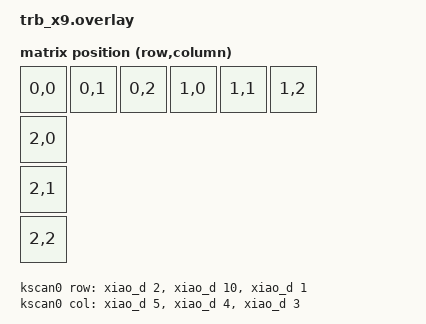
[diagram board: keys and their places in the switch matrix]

#include <dt-bindings/zmk/matrix_transform.h>
#include <input/processors.dtsi>
#include <dt-bindings/zmk/input_transform.h>
#include <zephyr/dt-bindings/pinctrl/nrf-pinctrl.h>
#include "trb_x9-layouts.dtsi"

/ {
    chosen {
        zmk,physical-layout = &physical_layout0;
        zmk,kscan = &kscan0;
    };

    // xiao_ble only exposes 11 GPIO pins (D0-D10), and D8-D10 are already
    // committed to the trackball's SPI bus below, leaving 8 pins (D0-D7).
    // A 3x3 matrix (6 pins) + CS/IRQ (2 pins) uses exactly those 8, so the
    // kscan matrix here is 3x3 (9 key positions total - see trb_x9-layouts.dtsi).
    default_transform: keymap_transform_0 {
        compatible = "zmk,matrix-transform";
        columns = <3>;
        rows = <3>;
        map = <
            RC(0,0) RC(0,1) RC(0,2) RC(1,0) RC(1,1) RC(1,2)
            RC(2,0)
            RC(2,1)
            RC(2,2)
        >;
    };

    kscan0: kscan {
        compatible = "zmk,kscan-gpio-matrix";
        wakeup-source;

        diode-direction = "col2row";
        row-gpios
            = <&xiao_d 2 (GPIO_ACTIVE_HIGH | GPIO_PULL_DOWN)>
            , <&xiao_d 10 (GPIO_ACTIVE_HIGH | GPIO_PULL_DOWN)>
            , <&xiao_d 1 (GPIO_ACTIVE_HIGH | GPIO_PULL_DOWN)>
            ;
        col-gpios
            = <&xiao_d 5 GPIO_ACTIVE_HIGH>
            , <&xiao_d 4 GPIO_ACTIVE_HIGH>
            , <&xiao_d 3 GPIO_ACTIVE_HIGH>
            ;
    };

    trackball_listener: trackball_listener {
        compatible = "zmk,input-listener";
        device = <&trackball>;
        input-processors = <&zip_xy_transform (INPUT_TRANSFORM_X_INVERT | INPUT_TRANSFORM_Y_INVERT) &rotate45>;

        // While layer 3 is active (held via &mb3_scroll, see below), replace
        // the normal cursor-move processors with the scroll mapper so the
        // trackball drives vertical/horizontal scrolling instead.
        scroller: scroller {
            layers = <3>;
            // zip_xy_to_scroll_mapper converts X/Y movement into
            // scroll/h-scroll events; zip_scroll_scaler <multiplier> <divisor>
            // then adjusts the resulting scroll speed. 1 2 = half speed;
            // raise the first number or lower the second to scroll faster
            // (e.g. 2 1 doubles it), and do the opposite to slow it down.
            input-processors = <&zip_xy_to_scroll_mapper &zip_scroll_scaler 1 16>;
        };
    };

    // Rotates trackball movement in 15-degree steps. The current step is
    // shared runtime state, adjusted by &rotate_step (see rotate_step below).
    rotate45: rotate45 {
        compatible = "zmk,input-processor-rotate";
        #input-processor-cells = <0>;
    };

    // Bind this in the keymap, e.g.:
    //   &rotate_step 1   -> rotate cursor movement +15 degrees (clockwise)
    //   &rotate_step (-1) -> rotate cursor movement -15 degrees (counter-clockwise)
    rotate_step: rotate_step {
        compatible = "zmk,behavior-rotate-step";
        #binding-cells = <1>;
        display-name = "Rotate Step";
    };

    // Tap = normal mouse click (param2, e.g. MB3). Hold = momentarily enable
    // the given layer (param1) so the trackball scrolls instead of moving
    // the cursor while held. Usage: &mb3_scroll 3 MB3
    mb3_scroll: mb3_scroll {
        compatible = "zmk,behavior-hold-tap";
        #binding-cells = <2>;
        tapping-term-ms = <200>;
        flavor = "balanced";
        bindings = <&mo>, <&mkp>;
    };
};

&physical_layout0 {
    kscan = <&kscan0>;
    transform = <&default_transform>;
};

// D4/D5 default to i2c1 (SDA/SCL) and D6/D7 default to uart0 (TX/RX) on the
// xiao_ble board. We don't need either peripheral - D4/D5 are reused above
// as kscan columns, and D6/D7 below as the trackball's CS/IRQ lines - so
// disable both to free the pins for plain GPIO use.
&i2c1 {
    status = "disabled";
};

&uart0 {
    status = "disabled";
};

// The board's default xiao_spi pinctrl wires MOSI and MISO to separate
// physical pins (D10 and D9). Most PAW3222 breakout modules only expose a
// single bidirectional SDIO data line instead of separate MOSI/MISO, so we
// override the pinctrl here to point BOTH MOSI and MISO at the same pin
// (D9 = gpio1 14). SCK stays on D8 (gpio1 13); D10 (gpio1 15) is left
// unused/free as a result.
&pinctrl {
    spi2_sdio_default: spi2_sdio_default {
        group1 {
            psels = <NRF_PSEL(SPIM_SCK, 1, 13)>,
                    <NRF_PSEL(SPIM_MOSI, 1, 14)>,
                    <NRF_PSEL(SPIM_MISO, 1, 14)>;
        };
    };

    spi2_sdio_sleep: spi2_sdio_sleep {
        group1 {
            psels = <NRF_PSEL(SPIM_SCK, 1, 13)>,
                    <NRF_PSEL(SPIM_MOSI, 1, 14)>,
                    <NRF_PSEL(SPIM_MISO, 1, 14)>;
            low-power-enable;
        };
    };
};

// xiao_spi (= &spi2). cs-gpios stays on D6. irq-gpios has GPIO_PULL_UP
// added so the line doesn't float (and potentially spam interrupts)
// before a physical sensor is attached.
&xiao_spi {
    status = "okay";
    pinctrl-0 = <&spi2_sdio_default>;
    pinctrl-1 = <&spi2_sdio_sleep>;
    pinctrl-names = "default", "sleep";
    cs-gpios = <&xiao_d 6 GPIO_ACTIVE_LOW>;

    trackball: trackball@0 {
        status = "okay";
        compatible = "pixart,paw3222";
        reg = <0>;
        spi-max-frequency = <2000000>;
        irq-gpios = <&xiao_d 7 (GPIO_ACTIVE_LOW | GPIO_PULL_UP)>;
    };
};
